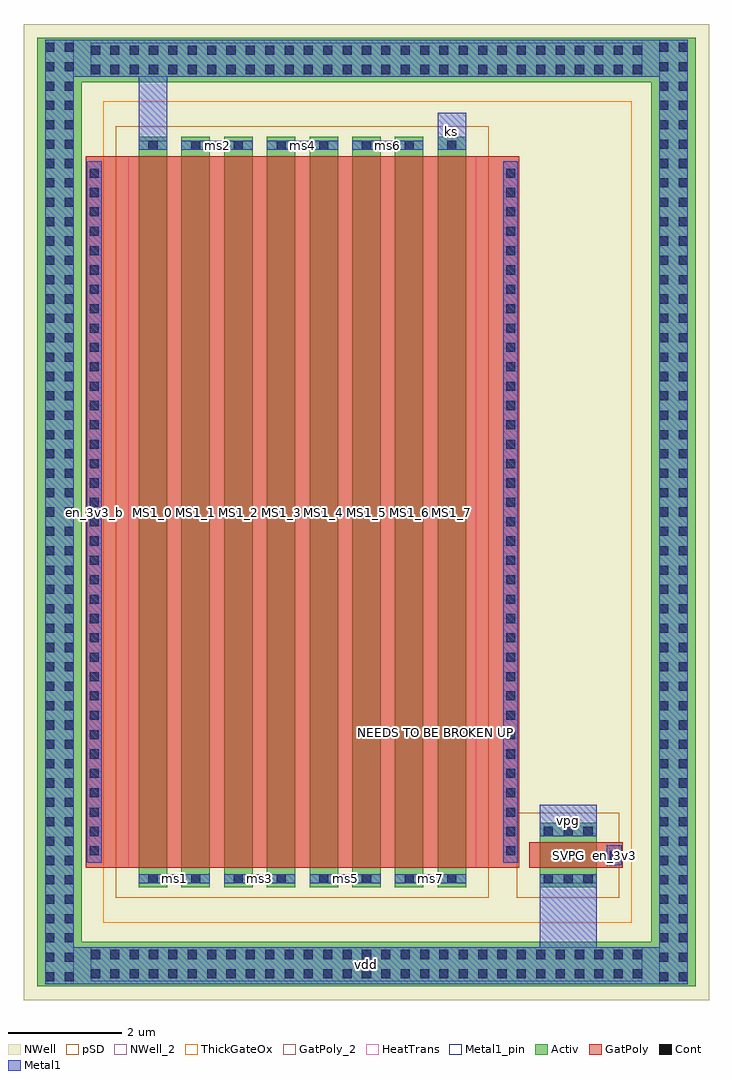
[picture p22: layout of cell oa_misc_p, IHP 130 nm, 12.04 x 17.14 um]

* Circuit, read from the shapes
.subckt oa_misc_p en_3v3 en_3v3_b ks ms1 ms2 ms3 ms4 ms5 ms6 ms7 vdd vpg
XM1 vdd en_3v3_b ms1 vdd sg13_hv_pmos w=0.5u l=12.5u
XM2 ms2 en_3v3_b ms1 vdd sg13_hv_pmos w=0.5u l=12.5u
XM3 ms2 en_3v3_b ms3 vdd sg13_hv_pmos w=0.5u l=12.5u
XM4 ms4 en_3v3_b ms3 vdd sg13_hv_pmos w=0.5u l=12.5u
XM5 ms4 en_3v3_b ms5 vdd sg13_hv_pmos w=0.5u l=12.5u
XM6 ms6 en_3v3_b ms5 vdd sg13_hv_pmos w=0.5u l=12.5u
XM7 ms6 en_3v3_b ms7 vdd sg13_hv_pmos w=0.5u l=12.5u
XM8 ks en_3v3_b ms7 vdd sg13_hv_pmos w=0.5u l=12.5u
XM9 vpg en_3v3 vdd vdd sg13_hv_pmos w=1u l=0.45u
.ends

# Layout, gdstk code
from math import pi, radians
import gdstk
lib = gdstk.Library(unit=1e-6, precision=1e-09)
def R(c, l, rs):  # rectangles x0, y0, x1, y1
    for r in rs: c.add(gdstk.rectangle(r[:2], r[2:], *l))
def A(c, l, x, y, w, h, nx, ny, dx, dy):  # array of equal rectangles
    R(c, l, [(x+i*dx, y+j*dy, x+i*dx+w, y+j*dy+h) for i in range(nx) for j in range(ny)])
Activ = (1, 0)
GatPoly = (5, 0)
GatPoly_2 = (5, 2)
Cont = (6, 0)
Metal1 = (8, 0)
Metal1_pin = (8, 2)
pSD = (14, 0)
NWell = (31, 0)
NWell_2 = (31, 2)
ThickGateOx = (44, 0)
HeatTrans = (51, 0)

pmoshv_13 = lib.new_cell('pmosHV$13')
R(pmoshv_13, Activ, [(0,0,0.3,0.3), (0,0,13.18,0.5), (12.88,0,13.18,0.3)])
R(pmoshv_13, GatPoly, [(0.34,-0.18,12.84,0.68)])
R(pmoshv_13, GatPoly_2, [(0.34,-0.18,12.84,0.68)])
R(pmoshv_13, Cont, [(0.07,0.17,0.23,0.33), (12.95,0.17,13.11,0.33)])
R(pmoshv_13, Metal1, [(0.07,0,0.23,0.5), (12.95,0,13.11,0.5)])
R(pmoshv_13, Metal1_pin, [(0.07,0,0.23,0.5), (12.95,0,13.11,0.5)])
R(pmoshv_13, pSD, [(-0.18,-0.4,13.36,0.9)])
R(pmoshv_13, NWell, [(-0.62,-0.62,13.8,1.12)])
R(pmoshv_13, ThickGateOx, [(-0.62,-0.62,13.8,1.12)])
R(pmoshv_13, HeatTrans, [(0.34,-0.18,12.84,0.68)])
pmoshv_13.add(gdstk.Label('pmosHV', (6.59,0.25), layer=63, texttype=0))
pmoshv_13.add(gdstk.Label('pmos', (6.59,0.25), layer=51, texttype=0))

pmoshv_7 = lib.new_cell('pmosHV$7')
R(pmoshv_7, Activ, [(0,0,0.3,0.3), (0,0,1.13,1), (0.83,0,1.13,0.3)])
R(pmoshv_7, GatPoly, [(0.34,-0.18,0.79,1.18)])
R(pmoshv_7, GatPoly_2, [(0.34,-0.18,0.79,1.18)])
A(pmoshv_7, Cont, 0.07, 0.07, 0.16, 0.16, 1, 3, 0, 0.35)
A(pmoshv_7, Cont, 0.9, 0.07, 0.16, 0.16, 1, 3, 0, 0.35)
R(pmoshv_7, Metal1, [(0.07,0,0.23,1), (0.9,0,1.06,1)])
R(pmoshv_7, Metal1_pin, [(0.07,0,0.23,1), (0.9,0,1.06,1)])
R(pmoshv_7, pSD, [(-0.18,-0.4,1.31,1.4)])
R(pmoshv_7, NWell, [(-0.62,-0.62,1.75,1.62)])
R(pmoshv_7, ThickGateOx, [(-0.62,-0.62,1.75,1.62)])
R(pmoshv_7, HeatTrans, [(0.34,-0.18,0.79,1.18)])
pmoshv_7.add(gdstk.Label('pmosHV', (0.565,0.5), layer=63, texttype=0))
pmoshv_7.add(gdstk.Label('pmos', (0.565,0.5), layer=51, texttype=0))

ntap1_26 = lib.new_cell('ntap1$26')
R(ntap1_26, Activ, [(0,0,0.78,16.66)])
A(ntap1_26, Cont, 0.14, 0.09, 0.16, 0.16, 1, 49, 0, 0.34)
A(ntap1_26, Cont, 0.48, 0.09, 0.16, 0.16, 1, 49, 0, 0.34)
R(ntap1_26, Metal1, [(0.14,0.04,0.64,16.62)])
R(ntap1_26, Metal1_pin, [(0.14,0.04,0.64,16.62), (0.14,0.09,0.64,16.57)])
R(ntap1_26, NWell, [(-0.24,-0.24,1.02,16.9), (0,0,0.78,16.66)])
R(ntap1_26, NWell_2, [(0,0,0.78,16.66)])
ntap1_26.add(gdstk.Label('well', (0.39,0.01), layer=63, texttype=0))
ntap1_26.add(gdstk.Label('well', (0.39,0.01), layer=31, texttype=0))

ntap1_27 = lib.new_cell('ntap1$27')
R(ntap1_27, Activ, [(0,0,10,0.78)])
A(ntap1_27, Cont, 0.16, 0.14, 0.16, 0.16, 29, 2, 0.34, 0.34)
R(ntap1_27, Metal1, [(0.16,0.09,9.84,0.69)])
R(ntap1_27, Metal1_pin, [(0.16,0.09,9.84,0.69), (0.16,0.14,9.84,0.64)])
R(ntap1_27, NWell, [(-0.24,-0.24,10.24,1.02), (0,0,10,0.78)])
R(ntap1_27, NWell_2, [(0,0,10,0.78)])
ntap1_27.add(gdstk.Label('well', (5,0.01), layer=63, texttype=0))
ntap1_27.add(gdstk.Label('well', (5,0.01), layer=31, texttype=0))

oa_misc_p = lib.new_cell('oa_misc_p')
R(oa_misc_p, GatPoly, [(-0.93,0.34,-0.18,12.84), (5.93,0.34,6.68,12.84), (8.22,0.34,8.5,0.79)])
A(oa_misc_p, Cont, -0.86, 0.56, 0.16, 0.16, 1, 36, 0, 0.34)
A(oa_misc_p, Cont, 6.45, 0.56, 0.16, 0.16, 1, 36, 0, 0.34)
R(oa_misc_p, Cont, [(8.27,0.485,8.43,0.645)])
A(oa_misc_p, Metal1, 0.4, 0.07, 0.45, 0.16, 4, 1, 1.5, 0)
A(oa_misc_p, Metal1, 1.15, 12.95, 0.45, 0.16, 3, 1, 1.5, 0)
R(oa_misc_p, Metal1, [(-1.64,-1.7,9.64,-1.65), (-1.24,-1.65,-0.74,-1.05), (8.74,-1.65,9.24,-1.05), (7.04,-1.15,8.04,0.23), (8.22,0.39,8.48,0.74), (-0.91,0.43,-0.65,12.75), (6.4,0.43,6.66,12.75), (7.04,0.9,8.04,1.45), (0,12.95,0.5,14.33), (5.25,12.95,5.75,13.6), (-1.24,14.23,-0.74,14.83), (8.74,14.23,9.24,14.83), (-1.64,14.83,9.64,14.88)])
A(oa_misc_p, Metal1_pin, 0, 0.07, 1.25, 0.16, 4, 1, 1.5, 0)
A(oa_misc_p, Metal1_pin, 0.75, 12.95, 1.25, 0.16, 3, 1, 1.5, 0)
R(oa_misc_p, Metal1_pin, [(-0.84,-1.65,8.84,-1.05), (8.22,0.39,8.48,0.74), (-0.91,0.43,-0.65,12.75), (7.04,0.9,8.04,1.45), (5.25,12.95,5.75,13.6)])
R(oa_misc_p, NWell, [(-2.02,-1.98,10.02,15.16)])
R(oa_misc_p, ThickGateOx, [(-0.62,-0.62,8.66,13.8)])
r = gdstk.Reference(pmoshv_13, (0,13.18), rotation=3*pi/2); r.repetition = gdstk.Repetition(1, 8, v1=(0,0), v2=(0.75,0)); oa_misc_p.add(r)
oa_misc_p.add(gdstk.Reference(pmoshv_7, (7.04,1.13), rotation=3*pi/2))
oa_misc_p.add(gdstk.Reference(ntap1_26, (-1.78,-1.74)))
oa_misc_p.add(gdstk.Reference(ntap1_26, (9,-1.74)))
oa_misc_p.add(gdstk.Reference(ntap1_27, (-1,14.14)))
oa_misc_p.add(gdstk.Reference(ntap1_27, (-1,-1.74)))
oa_misc_p.add(gdstk.Label('NEEDS TO BE BROKEN UP', (5.215,2.72), layer=63, texttype=0))
oa_misc_p.add(gdstk.Label('MS1_0', (0.25,6.59), layer=63, texttype=0))
oa_misc_p.add(gdstk.Label('MS1_1', (1,6.59), layer=63, texttype=0))
oa_misc_p.add(gdstk.Label('MS1_2', (1.75,6.59), layer=63, texttype=0))
oa_misc_p.add(gdstk.Label('MS1_3', (2.5,6.59), layer=63, texttype=0))
oa_misc_p.add(gdstk.Label('MS1_4', (3.25,6.59), layer=63, texttype=0))
oa_misc_p.add(gdstk.Label('MS1_5', (4,6.59), layer=63, texttype=0))
oa_misc_p.add(gdstk.Label('MS1_6', (4.75,6.59), layer=63, texttype=0))
oa_misc_p.add(gdstk.Label('MS1_7', (5.5,6.59), layer=63, texttype=0))
oa_misc_p.add(gdstk.Label('SVPG', (7.54,0.565), layer=63, texttype=0))
oa_misc_p.add(gdstk.Label('ms1', (0.625,0.15), layer=8, texttype=25))
oa_misc_p.add(gdstk.Label('ms3', (2.125,0.15), layer=8, texttype=25))
oa_misc_p.add(gdstk.Label('ms5', (3.625,0.15), layer=8, texttype=25))
oa_misc_p.add(gdstk.Label('ms7', (5.125,0.15), layer=8, texttype=25))
oa_misc_p.add(gdstk.Label('ms2', (1.375,13.03), layer=8, texttype=25))
oa_misc_p.add(gdstk.Label('ms4', (2.875,13.03), layer=8, texttype=25))
oa_misc_p.add(gdstk.Label('ms6', (4.375,13.03), layer=8, texttype=25))
oa_misc_p.add(gdstk.Label('en_3v3_b', (-0.78,6.59), layer=8, texttype=25))
oa_misc_p.add(gdstk.Label('en_3v3', (8.35,0.565), layer=8, texttype=25))
oa_misc_p.add(gdstk.Label('vpg', (7.54,1.175), layer=8, texttype=25))
oa_misc_p.add(gdstk.Label('ks', (5.5,13.275), layer=8, texttype=25))
oa_misc_p.add(gdstk.Label('vdd', (4,-1.35), layer=8, texttype=25))

lib.write_gds('oa_misc_p.gds')
